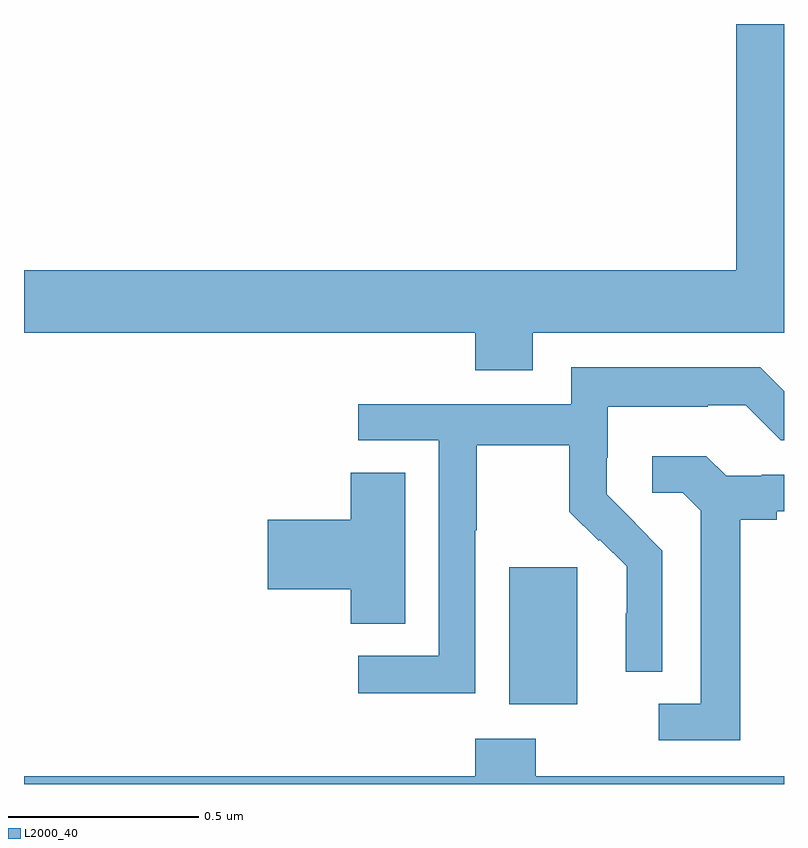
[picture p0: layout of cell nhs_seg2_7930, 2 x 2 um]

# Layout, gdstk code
import gdstk
lib = gdstk.Library(unit=1e-6, precision=1e-09)
def R(c, l, rs):  # rectangles x0, y0, x1, y1
    for r in rs: c.add(gdstk.rectangle(r[:2], r[2:], *l))
def P(c, l, *ps):  # polygons
    for p in ps: c.add(gdstk.Polygon(p, *l))
L2000_40 = (2000, 40)

nhs_seg2_7930 = lib.new_cell('nhs_seg2_7930')
R(nhs_seg2_7930, L2000_40, [(211.277,628.01,211.456,628.371)])
P(nhs_seg2_7930, L2000_40, [(212,629.8),(211.874,629.8),(211.874,629.152),(210,629.152),(210,628.988),(211.187,628.988),(211.187,628.889),(211.339,628.889),(211.339,628.988),(212,628.988)],
  [(211.188,628.468),(211.191,628.468),(211.191,628.692),(211.435,628.692),(211.435,628.517),(211.512,628.44),(211.515,628.443),(211.586,628.373),(211.586,628.25),(211.584,628.25),(211.584,628.096),(211.68,628.096),(211.68,628.414),(211.607,628.487),(211.608,628.488),(211.534,628.562),(211.534,628.659),(211.536,628.659),(211.536,628.793),(211.799,628.793),(211.799,628.797),(211.899,628.797),(211.992,628.704),(212,628.704),(212,628.834),(211.937,628.897),(211.44,628.897),(211.44,628.8),(210.879,628.8),(210.879,628.704),(211.092,628.704),(211.092,628.137),(210.879,628.137),(210.879,628.039),(211.188,628.039)],
  [(211.885,628.496),(211.981,628.496),(211.981,628.518),(212,628.518),(212,628.614),(211.942,628.614),(211.942,628.611),(211.848,628.611),(211.796,628.663),(211.653,628.663),(211.653,628.566),(211.734,628.566),(211.781,628.519),(211.781,628.011),(211.671,628.011),(211.671,627.915),(211.885,627.915)],
  [(211.003,628.619),(210.86,628.619),(210.86,628.496),(210.642,628.496),(210.642,628.313),(210.86,628.313),(210.86,628.222),(211.003,628.222)],
  [(212,627.82),(211.347,627.82),(211.347,627.919),(211.187,627.919),(211.187,627.82),(210,627.82),(210,627.8),(212,627.8)])

lib.write_gds('nhs_seg2_7930.gds')
